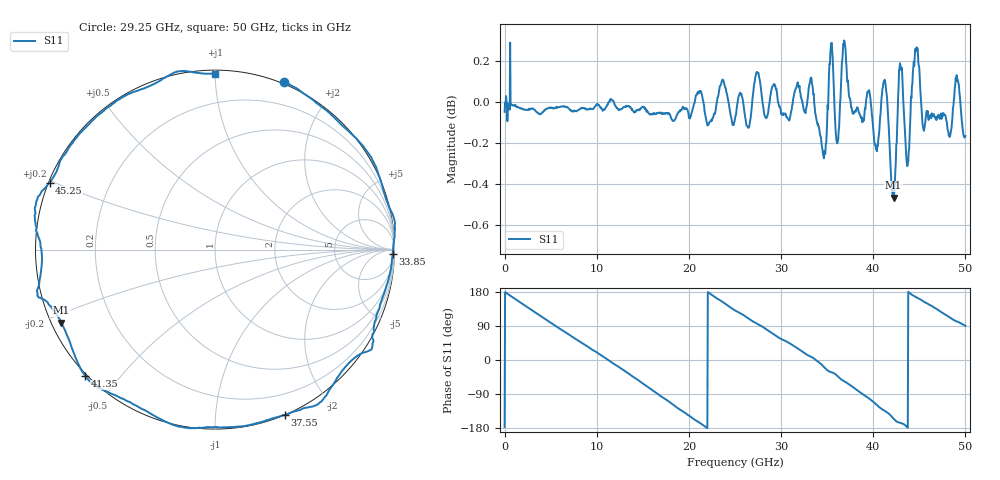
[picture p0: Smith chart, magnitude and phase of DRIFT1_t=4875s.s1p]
!Created with skrf (http://scikit-rf.org).
# Hz S RI R 50.0
!freq ReS11 ImS11
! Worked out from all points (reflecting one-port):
!   1001 points, 300 kHz to 50 GHz, reference 50 ohm
!   lowest |S11| = -0.5 dB at 42.2 GHz (marker M1), VSWR 37.28, Z = 1.41 - j11.3 ohm
!   phase of S11 starts at -177 deg and turns -813 deg over the sweep
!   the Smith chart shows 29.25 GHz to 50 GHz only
!   S11 on the Smith chart (normalised r, x): 29.25 GHz: -0.02, +1.50; 33.85 GHz: 33, -73; 37.55 GHz: 0.00, -1.51; 41.35 GHz: -0.01, -0.41; 45.25 GHz: 0.00, +0.19; 50 GHz: 0.02, +1.00
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300000  -0.993 -0.0546
1.60029e9  -0.8928 0.4432
3.35028e9  -0.5706 0.8152
6.250262e9  0.1985 0.9775
9.500243e9  0.8874 0.4523
1.115023e10  0.9982 0.0249
1.250022e10  0.9343 -0.3441
1.420021e10  0.6623 -0.7418
1.580021e10  0.2488 -0.9612
1.73502e10  -0.2032 -0.9726
1.875019e10  -0.5895 -0.7995
2.160017e10  -0.9914 -0.1242
2.350016e10  -0.9209 0.4151
2.500015e10  -0.6483 0.749
2.730014e10  -0.127 1.008
2.925012e10  0.3872 0.933
3.125011e10  0.7754 0.6296
3.38501e10  0.9896 -0.0225
3.520009e10  0.8822 -0.504
3.750008e10  0.4021 -0.9173
3.755007e10  0.3882 -0.9213
3.950006e10  -0.1855 -0.9882
4.135005e10  -0.7218 -0.7058
4.220005e10  -0.8562 -0.4064
4.375004e10  -0.9657 -0.0207
4.525003e10  -0.9221 0.3736
4.770001e10  -0.5205 0.8457
5e10  -0.00248 0.9811
